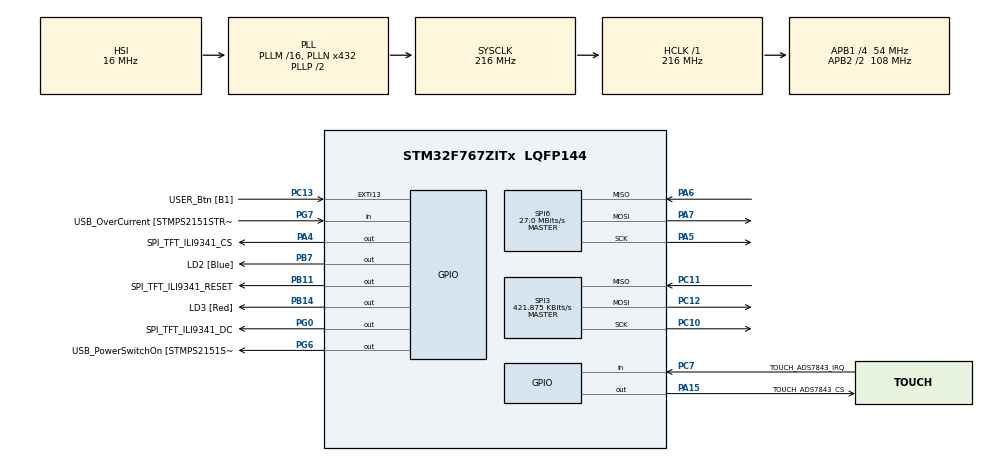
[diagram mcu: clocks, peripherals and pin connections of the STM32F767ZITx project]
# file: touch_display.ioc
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Mcu.Family=STM32F7
Mcu.Name=STM32F767ZITx
Mcu.Package=LQFP144
NVIC.PriorityGroup=NVIC_PRIORITYGROUP_4
PA1.GPIO_Label=RMII_REF_CLK [LAN8742A-CZ-TR_REFCLK0]
PA1.Signal=ETH_REF_CLK
PA10.GPIO_Label=USB_ID
PA10.Signal=USB_OTG_FS_ID
PA11.GPIO_Label=USB_DM
PA11.Signal=USB_OTG_FS_DM
PA12.GPIO_Label=USB_DP
PA12.Signal=USB_OTG_FS_DP
PA13.GPIO_Label=TMS
PA13.Signal=SYS_JTMS-SWDIO
PA14.GPIO_Label=TCK
PA14.Signal=SYS_JTCK-SWCLK
PA15.GPIO_Label=TOUCH_ADS7843_CS
PA15.Signal=GPIO_Output
PA2.GPIO_Label=RMII_MDIO [LAN8742A-CZ-TR_MDIO]
PA2.Signal=ETH_MDIO
PA4.GPIO_Label=SPI_TFT_ILI9341_CS
PA4.Signal=GPIO_Output
PA5.Mode=Full_Duplex_Master
PA5.Signal=SPI6_SCK
PA6.Mode=Full_Duplex_Master
PA6.Signal=SPI6_MISO
PA7.Mode=Full_Duplex_Master
PA7.Signal=SPI6_MOSI
PA8.GPIO_Label=USB_SOF [TP1]
PA8.Signal=USB_OTG_FS_SOF
PA9.GPIO_Label=USB_VBUS
PA9.Signal=USB_OTG_FS_VBUS
PB11.GPIO_Label=SPI_TFT_ILI9341_RESET
PB11.Signal=GPIO_Output
PB13.GPIO_Label=RMII_TXD1 [LAN8742A-CZ-TR_TXD1]
PB13.Signal=ETH_TXD1
PB14.GPIO_Label=LD3 [Red]
PB14.Signal=GPIO_Output
PB3.GPIO_Label=SW0
PB3.Signal=SYS_JTDO-SWO
PB7.GPIO_Label=LD2 [Blue]
PB7.Signal=GPIO_Output
PC1.GPIO_Label=RMII_MDC [LAN8742A-CZ-TR_MDC]
PC1.Signal=ETH_MDC
PC10.Mode=Full_Duplex_Master
PC10.Signal=SPI3_SCK
PC11.Mode=Full_Duplex_Master
PC11.Signal=SPI3_MISO
PC12.Mode=Full_Duplex_Master
PC12.Signal=SPI3_MOSI
PC13.GPIO_Label=USER_Btn [B1]
PC13.Signal=GPXTI13
PC14/OSC32_IN.Signal=RCC_OSC32_IN
PC15/OSC32_OUT.Signal=RCC_OSC32_OUT
PC4.GPIO_Label=RMII_RXD0 [LAN8742A-CZ-TR_RXD0]
PC4.Signal=ETH_RXD0
PC5.GPIO_Label=RMII_RXD1 [LAN8742A-CZ-TR_RXD1]
PC5.Signal=ETH_RXD1
PC7.GPIO_Label=TOUCH_ADS7843_IRQ
PC7.Signal=GPIO_Input
PD8.GPIO_Label=STLK_RX [STM32F103CBT6_PA3]
PD8.Signal=USART3_TX
PD9.GPIO_Label=STLK_TX [STM32F103CBT6_PA2]
PD9.Signal=USART3_RX
PG0.GPIO_Label=SPI_TFT_ILI9341_DC
PG0.Signal=GPIO_Output
PG11.GPIO_Label=RMII_TX_EN [LAN8742A-CZ-TR_TXEN]
PG11.Signal=ETH_TX_EN
PG13.GPIO_Label=RMII_TXD0 [LAN8742A-CZ-TR_TXD0]
PG13.Signal=ETH_TXD0
PG6.GPIO_Label=USB_PowerSwitchOn [STMPS2151STR_EN]
PG6.Signal=GPIO_Output
PG7.GPIO_Label=USB_OverCurrent [STMPS2151STR_FAULT]
PG7.Signal=GPIO_Input
PH0/OSC_IN.GPIO_Label=MCO [STM32F103CBT6_PA8]
PH0/OSC_IN.Signal=RCC_OSC_IN
PH1/OSC_OUT.Signal=RCC_OSC_OUT
ProjectManager.HeapSize=0x200
ProjectManager.StackSize=0x400
ProjectManager.TargetToolchain=Makefile
RCC.48MHZClocksFreq_Value=24000000
RCC.AHBFreq_Value=216000000
RCC.APB1CLKDivider=RCC_HCLK_DIV4
RCC.APB1Freq_Value=54000000
RCC.APB1TimFreq_Value=108000000
RCC.APB2CLKDivider=RCC_HCLK_DIV2
RCC.APB2Freq_Value=108000000
RCC.APB2TimFreq_Value=216000000
RCC.CortexFreq_Value=216000000
RCC.HCLKFreq_Value=216000000
RCC.HSE_VALUE=16000000
RCC.HSI_VALUE=16000000
RCC.LSE_VALUE=32768
RCC.PLLMUL=RCC_PLL_MUL9
RCC.PLLN=432
RCC.PRESCALERUSB=RCC_USBCLKSOURCE_PLL_DIV1_5
RCC.SYSCLKFreq_VALUE=216000000
RCC.SYSCLKSource=RCC_SYSCLKSOURCE_PLLCLK
RCC.SYSCLKSourceVirtual=RCC_SYSCLKSOURCE_PLLCLK
RCC.USBFreq_Value=216000000
RCC.VCOOutputFreq_Value=432000000
SPI3.BaudRatePrescaler=SPI_BAUDRATEPRESCALER_128
SPI3.CLKPhase=SPI_PHASE_2EDGE
SPI3.CLKPolarity=SPI_POLARITY_HIGH
SPI3.CalculateBaudRate=421.875 KBits/s
SPI3.DataSize=SPI_DATASIZE_8BIT
SPI3.Direction=SPI_DIRECTION_2LINES
SPI3.Mode=SPI_MODE_MASTER
SPI3.VirtualType=VM_MASTER
SPI6.BaudRatePrescaler=SPI_BAUDRATEPRESCALER_4
SPI6.CLKPhase=SPI_PHASE_2EDGE
SPI6.CLKPolarity=SPI_POLARITY_HIGH
SPI6.CalculateBaudRate=27.0 MBits/s
SPI6.DataSize=SPI_DATASIZE_8BIT
SPI6.Direction=SPI_DIRECTION_2LINES
SPI6.Mode=SPI_MODE_MASTER
SPI6.VirtualType=VM_MASTER
board=NUCLEO-F767ZI

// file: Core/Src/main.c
/* USER CODE BEGIN Header */
/**
  ******************************************************************************
  * @file           : main.c
  * @brief          : Main program body
  ******************************************************************************
  * @attention
  *
  * <h2><center>&copy; Copyright (c) 2019 STMicroelectronics.
  * All rights reserved.</center></h2>
  *
  * This software component is licensed by ST under BSD 3-Clause license,
  * the "License"; You may not use this file except in compliance with the
  * License. You may obtain a copy of the License at:
  *                        opensource.org/licenses/BSD-3-Clause
  *
  ******************************************************************************
  */
/* USER CODE END Header */

#include "main.h"
#include "spi.h"
#include "gpio.h"

/* USER CODE BEGIN Includes */
#include <math.h>
#include "SPI_TFT_ILI9341.h"
#include "Touch_ADS7843.h"
#include "fonts.h"
#include "SampleImage.h"
#include <stdlib.h>
#include <stdbool.h>
#include <stdio.h>

/* USER CODE END Includes */

/* USER CODE BEGIN PV */
SPI_TFT_ILI9341_DriverStruct TFT;
Touch_ADS7843_DriverStruct TP;

/* USER CODE END PV */

void SystemClock_Config(void);

/* USER CODE BEGIN 0 */
void TFT_spi_write_callback(uint8_t *data, uint16_t nbytes) { HAL_SPI_Transmit(&hspi6, data, nbytes, 10); }
void TFT_digitalOut_dc_callback(uint8_t high_low) { HAL_GPIO_WritePin(SPI_TFT_ILI9341_DC_GPIO_Port, SPI_TFT_ILI9341_DC_Pin, high_low); }
void TFT_digitalOut_cs_callback(uint8_t high_low) { HAL_GPIO_WritePin(SPI_TFT_ILI9341_CS_GPIO_Port, SPI_TFT_ILI9341_CS_Pin, high_low); }
void TFT_digitalOut_reset_callback(uint8_t high_low) { HAL_GPIO_WritePin(SPI_TFT_ILI9341_RESET_GPIO_Port, SPI_TFT_ILI9341_RESET_Pin, high_low); }
void TFT_waitms_callback(uint16_t ms) { HAL_Delay(ms); }

uint8_t touch_spi_write_callback(uint8_t data)
{
  static uint8_t ret;
  HAL_SPI_TransmitReceive(&hspi3, &data, &ret, 1, 10);
  return ret;
}
void touch_digitalOut_cs_callback(uint8_t high_low) { HAL_GPIO_WritePin(TOUCH_ADS7843_CS_GPIO_Port, TOUCH_ADS7843_CS_Pin, high_low); }
uint8_t touch_digitalIn_irq_callback(void) { return HAL_GPIO_ReadPin(TOUCH_ADS7843_IRQ_GPIO_Port, TOUCH_ADS7843_IRQ_Pin); }

////////////////////////////////flappy start
int x, y; // Variables for the coordinates where the display has been pressed
// Floppy Bird
int xP = 300;
int yP = 100;
int yB = 70;
int movingRate = 3;
int fallRateInt = 0;
float fallRate = 0;
int score = 0;
char s[64];
int lastSpeedUpScore = 0;
int highestScore;
bool screenPressed = false;
bool gameStarted = false;

void drawPilars(int x, int y);
void drawBird(int y);
void gameOver();
void initiateGame();

/* USER CODE END 0 */

int main(void)
{

  /* MCU Configuration--------------------------------------------------------*/

  /* Reset of all peripherals, Initializes the Flash interface and the Systick. */
  HAL_Init();

  /* Configure the system clock */
  SystemClock_Config();

  /* Initialize all configured peripherals */
  MX_GPIO_Init();
  MX_SPI3_Init();
  MX_SPI6_Init();
  /* USER CODE BEGIN 2 */

  //exercise 1 start
  SPI_TFT_ILI9341(&TFT,
                  &TFT_spi_write_callback,
                  &TFT_digitalOut_cs_callback,
                  &TFT_digitalOut_reset_callback,
                  &TFT_digitalOut_dc_callback,
                  &TFT_waitms_callback);
  Touch_ADS7843(&TP,
                &touch_spi_write_callback,
                &touch_digitalOut_cs_callback,
                &touch_digitalIn_irq_callback,
                &TFT_waitms_callback, &TFT);

  SPI_TFT_ILI9341_set_background(&TFT, Navy);  // set background to black
  SPI_TFT_ILI9341_set_foreground(&TFT, White); // set chars to white

  ////// Touchpanel calibration
  SPI_TFT_ILI9341_set_orientation(&TFT, 3);
  Touch_ADS7843_TouchPanelCalibrate(&TP, Arial12x12);

  SPI_TFT_ILI9341_set_font(&TFT, (unsigned char *)Arial12x12);

  SPI_TFT_ILI9341_cls(&TFT);
  SPI_TFT_ILI9341_locate(&TFT, 0, 20);
  SPI_TFT_ILI9341_printf(&TFT, "Done.\nTouch panel to read again.\n");
  while (!Touch_ADS7843_OnTouch(&TP))
    ;

  initiateGame(&TP); /////////// Initiate the game

  /* USER CODE END 2 */

  /* Infinite loop */
  while (1)
  {

    /* USER CODE BEGIN 3 */

    if (gameStarted)
    {

      if (Touch_ADS7843_OnTouch(&TP)) //when touch
      {
        if (Touch_ADS7843_ReadADS7843(&TP, NULL))
        {
          Touch_ADS7843_GetDisplayPoint(&TP);
          SPI_TFT_ILI9341_set_font(&TFT, (unsigned char *)Arial12x12);
          SPI_TFT_ILI9341_locate(&TFT, 0, 0);
          SPI_TFT_ILI9341_printf(&TFT, "x:%03d", TP.display.x);
          SPI_TFT_ILI9341_locate(&TFT, 40, 0);
          SPI_TFT_ILI9341_printf(&TFT, "y:%03d", TP.display.y);

          /////Controlling the bird
          fallRate = -6; // Setting the fallRate negative will make the bird jump
        }
      }

      ///////////////////////////////continue looping
      xP = xP - movingRate; // xP - x coordinate of the pilars; range: 319 - (-51)
      drawPilars(xP, yP);   // Draws the pillars

      // yB - y coordinate of the bird which depends on value of the fallingRate variable
      yB += fallRateInt;
      fallRate = fallRate + 0.4; // Each inetration the fall rate increase so that we can the effect of acceleration/ gravity
      fallRateInt = (int)fallRate;

      // Checks for collision
      if (yB >= 215 || yB <= 15)
      { // top and bottom
        gameOver();
      }
      if ((xP <= 62) && (xP >= 0) && (yB <= yP + 6))
      { // upper pillar
        gameOver();
      }
      if ((xP <= 62) && (xP >= 0) && (yB >= yP + 74))
      { // lower pillar
        gameOver();
      }

      // Draws the bird
      drawBird(yB);

      // After the pillar has passed through the screen
      if (xP <= -50)
      {
        xP = 300;               // Resets xP to 319
        yP = rand() % 100 + 20; // Random number for the pillars height
        score++;                // Increase score by one
      }

      // After each five points, increases the moving rate of the pillars
      if ((score - lastSpeedUpScore) == 5)
      {
        lastSpeedUpScore = score;
        movingRate++;
      }

      ////////////////loop end
    }

    //exercise 2 end
  }
  /* USER CODE END 3 */
}

void SystemClock_Config(void)
{
  RCC_OscInitTypeDef RCC_OscInitStruct = {0};
  RCC_ClkInitTypeDef RCC_ClkInitStruct = {0};

  /** Configure the main internal regulator output voltage
  */
  __HAL_RCC_PWR_CLK_ENABLE();
  __HAL_PWR_VOLTAGESCALING_CONFIG(PWR_REGULATOR_VOLTAGE_SCALE1);
  /** Initializes the CPU, AHB and APB busses clocks
  */
  RCC_OscInitStruct.OscillatorType = RCC_OSCILLATORTYPE_HSI;
  RCC_OscInitStruct.HSIState = RCC_HSI_ON;
  RCC_OscInitStruct.HSICalibrationValue = RCC_HSICALIBRATION_DEFAULT;
  RCC_OscInitStruct.PLL.PLLState = RCC_PLL_ON;
  RCC_OscInitStruct.PLL.PLLSource = RCC_PLLSOURCE_HSI;
  RCC_OscInitStruct.PLL.PLLM = 16;
  RCC_OscInitStruct.PLL.PLLN = 432;
  RCC_OscInitStruct.PLL.PLLP = RCC_PLLP_DIV2;
  RCC_OscInitStruct.PLL.PLLQ = 2;
  if (HAL_RCC_OscConfig(&RCC_OscInitStruct) != HAL_OK)
  {
    Error_Handler();
  }
  /** Activate the Over-Drive mode
  */
  if (HAL_PWREx_EnableOverDrive() != HAL_OK)
  {
    Error_Handler();
  }
  /** Initializes the CPU, AHB and APB busses clocks
  */
  RCC_ClkInitStruct.ClockType = RCC_CLOCKTYPE_HCLK | RCC_CLOCKTYPE_SYSCLK | RCC_CLOCKTYPE_PCLK1 | RCC_CLOCKTYPE_PCLK2;
  RCC_ClkInitStruct.SYSCLKSource = RCC_SYSCLKSOURCE_PLLCLK;
  RCC_ClkInitStruct.AHBCLKDivider = RCC_SYSCLK_DIV1;
  RCC_ClkInitStruct.APB1CLKDivider = RCC_HCLK_DIV4;
  RCC_ClkInitStruct.APB2CLKDivider = RCC_HCLK_DIV2;

  if (HAL_RCC_ClockConfig(&RCC_ClkInitStruct, FLASH_LATENCY_7) != HAL_OK)
  {
    Error_Handler();
  }
}

/* USER CODE BEGIN 4 */

void drawPilars(int x, int y)
{

  // Draws blue rectangle right of the pillar
  SPI_TFT_ILI9341_fillrect(&TFT, x + 50, 15, x + 60, y, Navy);
  // Draws the black frame of the pillar
  //SPI_TFT_ILI9341_rect(&TFT, x, 0, x+50, y, Black);
  // Draws the pillar
  SPI_TFT_ILI9341_fillrect(&TFT, x, 15, x + 50, y, Red);
  // Draws the blue rectangle left of the pillar
  SPI_TFT_ILI9341_fillrect(&TFT, x - 10, 15, x - 1, y, Navy);

  // The bottom pillar
  // Draws blue rectangle right of the pillar
  SPI_TFT_ILI9341_fillrect(&TFT, x + 50, y + 80, x + 60, 215, Navy);
  // Draws the black frame of the pillar
  //SPI_TFT_ILI9341_rect(&TFT, x, y + 80, x+50, 204, Black);
  // Draws the pillar
  SPI_TFT_ILI9341_fillrect(&TFT, x, y + 80, x + 50, 215, Red);
  // Draws the blue rectangle left of the pillar
  SPI_TFT_ILI9341_fillrect(&TFT, x - 3, y + 80, x - 1, 215, Navy);

  // Draws the score
  SPI_TFT_ILI9341_set_font(&TFT, (unsigned char *)Arial12x12);
  SPI_TFT_ILI9341_set_orientation(&TFT, 3);
  SPI_TFT_ILI9341_locate(&TFT, 200, 0);
  SPI_TFT_ILI9341_printf(&TFT, "score: %03d", score);
}

//====== drawBird() - Custom Function
void drawBird(int y)
{
  //SPI_TFT_ILI9341_circle(&TFT, 80, 150, 33, White);
  SPI_TFT_ILI9341_fillcircle(&TFT, 50, y, 6, Yellow);

  // Draws blue rectangles above and below the bird in order to clear its previus state
  SPI_TFT_ILI9341_fillrect(&TFT, 44, y - 18, 57, y - 6, Navy);
  SPI_TFT_ILI9341_fillrect(&TFT, 44, y + 6, 57, y + 18, Navy);
}

//======== gameOver() - Custom Function
void gameOver()
{
  HAL_Delay(1000); // 1 second
  // Clears the screen and prints the text
  SPI_TFT_ILI9341_cls(&TFT);

  SPI_TFT_ILI9341_set_background(&TFT, Navy);  // set background to black
  SPI_TFT_ILI9341_set_foreground(&TFT, White); // set chars to white

  SPI_TFT_ILI9341_set_orientation(&TFT, 3);
  SPI_TFT_ILI9341_set_font(&TFT, (unsigned char *)Arial24x23);
  SPI_TFT_ILI9341_locate(&TFT, 65, 100);
  SPI_TFT_ILI9341_printf(&TFT, "GAME OVER");

  SPI_TFT_ILI9341_set_font(&TFT, (unsigned char *)Arial12x12);
  SPI_TFT_ILI9341_locate(&TFT, 65, 130);
  SPI_TFT_ILI9341_printf(&TFT, "score: %03d", score);

  SPI_TFT_ILI9341_set_font(&TFT, (unsigned char *)Arial12x12);
  SPI_TFT_ILI9341_locate(&TFT, 65, 150);
  SPI_TFT_ILI9341_printf(&TFT, "Restarting...");
  HAL_Delay(2000);

  // Resets the variables to start position values
  xP = 300;
  yB = 70;
  fallRate = 0;
  score = 0;
  lastSpeedUpScore = 0;
  movingRate = 3;
  gameStarted = false;
  // Restart game
  initiateGame();
}

void initiateGame()
{

  SPI_TFT_ILI9341_cls(&TFT);
  SPI_TFT_ILI9341_set_background(&TFT, Navy);  // set background to black
  SPI_TFT_ILI9341_set_foreground(&TFT, White); // set chars to white

  SPI_TFT_ILI9341_set_orientation(&TFT, 0);
  SPI_TFT_ILI9341_fillrect(&TFT, 0, 0, SPI_TFT_ILI9341_width(&TFT), SPI_TFT_ILI9341_height(&TFT), Navy);
  SPI_TFT_ILI9341_fillrect(&TFT, 215, 0, SPI_TFT_ILI9341_width(&TFT), SPI_TFT_ILI9341_height(&TFT), Green);

  SPI_TFT_ILI9341_set_font(&TFT, (unsigned char *)Arial12x12);
  SPI_TFT_ILI9341_set_orientation(&TFT, 3);
  SPI_TFT_ILI9341_set_font(&TFT, (unsigned char *)Arial24x23);
  SPI_TFT_ILI9341_locate(&TFT, 75, 100);
  SPI_TFT_ILI9341_printf(&TFT, "Flappy Bird");
  SPI_TFT_ILI9341_set_font(&TFT, (unsigned char *)Arial12x12);
  SPI_TFT_ILI9341_locate(&TFT, 105, 130);
  SPI_TFT_ILI9341_printf(&TFT, "TAP TO START");

  drawBird(yB); // Draws the bird //draw rect

  // Wait until we tap the sreen
  while (!gameStarted)
  {

    if (Touch_ADS7843_OnTouch(&TP))
    {
      if (Touch_ADS7843_ReadADS7843(&TP, NULL))
      {
        gameStarted = true;

        // Clears the text "TAP TO START" before the game start
        SPI_TFT_ILI9341_set_orientation(&TFT, 3);
        SPI_TFT_ILI9341_fillrect(&TFT, 50, 50, 290, 150, Navy);
      }
    }
  }

}

/* USER CODE END 4 */

void Error_Handler(void)
{
}

/************************ (C) COPYRIGHT STMicroelectronics *****END OF FILE****/
